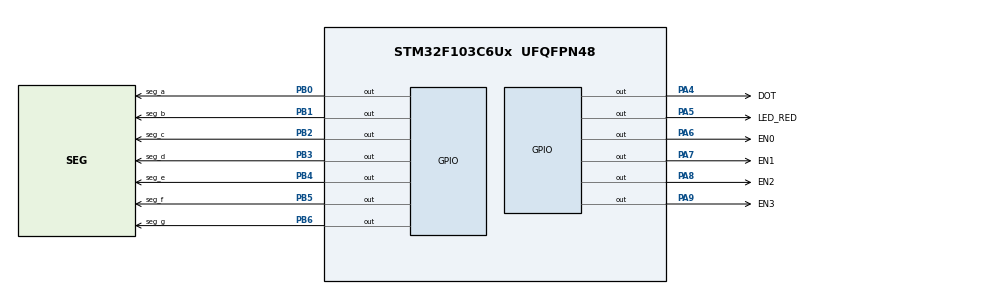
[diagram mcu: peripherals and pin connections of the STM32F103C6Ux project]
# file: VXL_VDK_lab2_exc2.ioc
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Mcu.Family=STM32F1
Mcu.Name=STM32F103C6Ux
Mcu.Package=UFQFPN48
NVIC.PriorityGroup=NVIC_PRIORITYGROUP_4
NVIC.TIM2_IRQn=true\:0\:0\:false\:false\:true\:true\:true\:true
PA4.GPIO_Label=DOT
PA4.Signal=GPIO_Output
PA5.GPIO_Label=LED_RED
PA5.Signal=GPIO_Output
PA6.GPIO_Label=EN0
PA6.Signal=GPIO_Output
PA7.GPIO_Label=EN1
PA7.Signal=GPIO_Output
PA8.GPIO_Label=EN2
PA8.Signal=GPIO_Output
PA9.GPIO_Label=EN3
PA9.Signal=GPIO_Output
PB0.GPIO_Label=seg_a
PB0.Signal=GPIO_Output
PB1.GPIO_Label=seg_b
PB1.Signal=GPIO_Output
PB2.GPIO_Label=seg_c
PB2.Signal=GPIO_Output
PB3.GPIO_Label=seg_d
PB3.Signal=GPIO_Output
PB4.GPIO_Label=seg_e
PB4.Signal=GPIO_Output
PB5.GPIO_Label=seg_f
PB5.Signal=GPIO_Output
PB6.GPIO_Label=seg_g
PB6.Signal=GPIO_Output
ProjectManager.HeapSize=0x200
ProjectManager.StackSize=0x400
ProjectManager.TargetToolchain=STM32CubeIDE
RCC.APB1Freq_Value=8000000
RCC.APB2Freq_Value=8000000
TIM2.Period=9
TIM2.Prescaler=7999
VP_SYS_VS_ND.Mode=No_Debug
VP_TIM2_VS_ClockSourceINT.Mode=Internal
board=custom

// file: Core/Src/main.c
/* USER CODE BEGIN Header */
/**
  ******************************************************************************
  * @file           : main.c
  * @brief          : Main program body
  ******************************************************************************
  * @attention
  *
  * Copyright (c) 2025 STMicroelectronics.
  * All rights reserved.
  *
  * This software is licensed under terms that can be found in the LICENSE file
  * in the root directory of this software component.
  * If no LICENSE file comes with this software, it is provided AS-IS.
  *
  ******************************************************************************
  */
/* USER CODE END Header */
#include "main.h"
#include "tim.h"
#include "gpio.h"

void SystemClock_Config(void);

/* USER CODE BEGIN 0 */

int led_buffer[4] = {1, 2, 3, 0};
uint8_t led7_table[10][7] =    {{0,0,0,0,0,0,1},
								{1,0,0,1,1,1,1},
								{0,0,1,0,0,1,0},
								{0,0,0,0,1,1,0},
								{1,0,0,1,1,0,0},
								{0,1,0,0,1,0,0},
								{0,1,0,0,0,0,0},
								{0,0,0,1,1,1,1},
								{0,0,0,0,0,0,0},
								{0,0,0,0,1,0,0}};
uint16_t EN_PIN[4] = {
    EN0_Pin,
    EN1_Pin,
    EN2_Pin,
    EN3_Pin,
};
void display7SEG(int num,int led){
	HAL_GPIO_WritePin(EN0_GPIO_Port, EN_PIN[0], SET);
	HAL_GPIO_WritePin(EN0_GPIO_Port, EN_PIN[1], SET);
	HAL_GPIO_WritePin(EN0_GPIO_Port, EN_PIN[2], SET);
	HAL_GPIO_WritePin(EN0_GPIO_Port, EN_PIN[3], SET);

	HAL_GPIO_WritePin(seg_a_GPIO_Port, seg_a_Pin, led7_table[num][0]);
	HAL_GPIO_WritePin(seg_b_GPIO_Port, seg_b_Pin, led7_table[num][1]);
	HAL_GPIO_WritePin(seg_c_GPIO_Port, seg_c_Pin, led7_table[num][2]);
	HAL_GPIO_WritePin(seg_g_GPIO_Port, seg_d_Pin, led7_table[num][3]);
	HAL_GPIO_WritePin(seg_f_GPIO_Port, seg_e_Pin, led7_table[num][4]);
	HAL_GPIO_WritePin(seg_e_GPIO_Port, seg_f_Pin, led7_table[num][5]);
	HAL_GPIO_WritePin(seg_d_GPIO_Port, seg_g_Pin, led7_table[num][6]);
	HAL_GPIO_WritePin(EN0_GPIO_Port, EN_PIN[led], RESET);

}

int LED_RED_cnt = 0;
int seg_cnt = 0;
int seg_state = 0;
void HAL_TIM_PeriodElapsedCallback(TIM_HandleTypeDef *htim)
 {
	 ++LED_RED_cnt;
	 ++seg_cnt;
	  if(seg_cnt >=50){
		  ++seg_state;
		  display7SEG(led_buffer[seg_state], seg_state);
		  seg_cnt = 0;
		  HAL_GPIO_TogglePin(DOT_GPIO_Port, DOT_Pin);
	  }
	  if(LED_RED_cnt >= 100){
		  LED_RED_cnt = 0;
		  HAL_GPIO_TogglePin(LED_RED_GPIO_Port, LED_RED_Pin);

	  }
	  if(seg_state>=3) seg_state = -1;
 }

/* USER CODE END 0 */

int main(void)
{

  /* MCU Configuration--------------------------------------------------------*/

  /* Reset of all peripherals, Initializes the Flash interface and the Systick. */
  HAL_Init();

  /* Configure the system clock */
  SystemClock_Config();

  /* Initialize all configured peripherals */
  MX_GPIO_Init();
  MX_TIM2_Init();
  /* USER CODE BEGIN 2 */
  HAL_TIM_Base_Start_IT(&htim2);
  HAL_GPIO_WritePin(LED_RED_GPIO_Port, LED_RED_Pin, RESET);
  HAL_GPIO_WritePin(DOT_GPIO_Port, DOT_Pin, RESET);
  display7SEG(1, 0);
  display7SEG(led_buffer[seg_state], seg_state);
  /* USER CODE END 2 */

  /* Infinite loop */
  while (1)
  {

  }
}

void SystemClock_Config(void)
{
  RCC_OscInitTypeDef RCC_OscInitStruct = {0};
  RCC_ClkInitTypeDef RCC_ClkInitStruct = {0};

  /** Initializes the RCC Oscillators according to the specified parameters
  * in the RCC_OscInitTypeDef structure.
  */
  RCC_OscInitStruct.OscillatorType = RCC_OSCILLATORTYPE_HSI;
  RCC_OscInitStruct.HSIState = RCC_HSI_ON;
  RCC_OscInitStruct.HSICalibrationValue = RCC_HSICALIBRATION_DEFAULT;
  RCC_OscInitStruct.PLL.PLLState = RCC_PLL_NONE;
  if (HAL_RCC_OscConfig(&RCC_OscInitStruct) != HAL_OK)
  {
    Error_Handler();
  }

  /** Initializes the CPU, AHB and APB buses clocks
  */
  RCC_ClkInitStruct.ClockType = RCC_CLOCKTYPE_HCLK|RCC_CLOCKTYPE_SYSCLK
                              |RCC_CLOCKTYPE_PCLK1|RCC_CLOCKTYPE_PCLK2;
  RCC_ClkInitStruct.SYSCLKSource = RCC_SYSCLKSOURCE_HSI;
  RCC_ClkInitStruct.AHBCLKDivider = RCC_SYSCLK_DIV1;
  RCC_ClkInitStruct.APB1CLKDivider = RCC_HCLK_DIV1;
  RCC_ClkInitStruct.APB2CLKDivider = RCC_HCLK_DIV1;

  if (HAL_RCC_ClockConfig(&RCC_ClkInitStruct, FLASH_LATENCY_0) != HAL_OK)
  {
    Error_Handler();
  }
}

void Error_Handler(void)
{
  __disable_irq();
  while (1)
  {
  }
}
